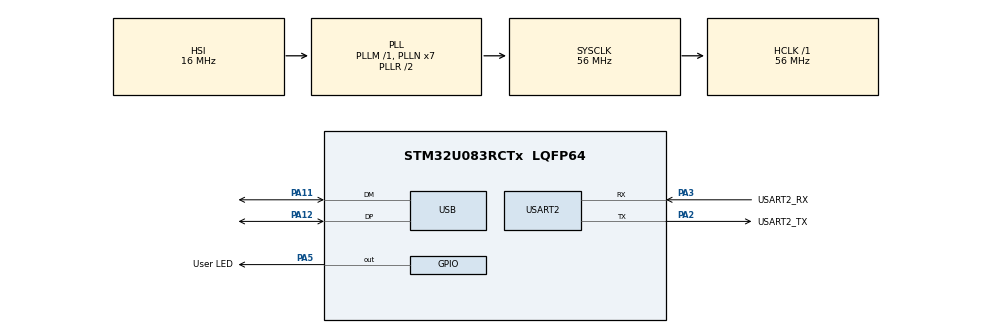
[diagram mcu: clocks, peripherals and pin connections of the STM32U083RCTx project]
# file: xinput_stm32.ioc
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Mcu.Family=STM32U0
Mcu.Name=STM32U083RCTx
Mcu.Package=LQFP64
NUCLEO-U083RC.BUTTON=2
NVIC.PriorityGroup=NVIC_PRIORITYGROUP_2
NVIC.USB_DRD_FS_IRQn=true\:0\:0\:false\:false\:true\:true\:true\:true
PA11\ [PA9].Mode=Device
PA11\ [PA9].Signal=USB_DM
PA12\ [PA10].Mode=Device
PA12\ [PA10].Signal=USB_DP
PA13\ (SWDIO).GPIO_Label=SWDIO
PA13\ (SWDIO).Signal=DEBUG_JTMS-SWDIO
PA14\ (SWCLK).GPIO_Label=SWCLK
PA14\ (SWCLK).Signal=DEBUG_JTCK-SWCLK
PA2.GPIO_Label=USART2_TX
PA2.Mode=Asynchronous
PA2.Signal=USART2_TX
PA3.GPIO_Label=USART2_RX
PA3.Mode=Asynchronous
PA3.Signal=USART2_RX
PA5.GPIO_Label=User LED
PA5.Signal=GPIO_Output
ProjectManager.HeapSize=0x200
ProjectManager.StackSize=0x400
ProjectManager.TargetToolchain=CMake
RCC.ADCFreq_Value=56000000
RCC.AHBFreq_Value=56000000
RCC.CortexFreq_Value=56000000
RCC.HCLKFreq_Value=56000000
RCC.HSE_VALUE=4000000
RCC.HSI48_VALUE=48000000
RCC.HSI_VALUE=16000000
RCC.LSE_VALUE=32768
RCC.MSIClockRangeVal=RCC_MSIRANGE_11
RCC.MSI_VALUE=48000000
RCC.PLLN=7
RCC.SYSCLKFreq_VALUE=56000000
RCC.SYSCLKSource=RCC_SYSCLKSOURCE_PLLCLK
RCC.USBFreq_Value=48000000
RCC.VCOOutputFreq_Value=112000000
USART2.VirtualMode-Asynchronous=VM_ASYNC
USB.VirtualMode=Device_Only
VP_NUCLEO-U083RC_VS_BSP_COMMON.Mode=COMMON
VP_PWR_VS_SECSignals.Mode=Security/Privilege
board=NUCLEO-U083RC

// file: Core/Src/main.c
/* USER CODE BEGIN Header */
/**
  ******************************************************************************
  * @file           : main.c
  * @brief          : Main program body
  ******************************************************************************
  * @attention
  *
  * Copyright (c) 2025 STMicroelectronics.
  * All rights reserved.
  *
  * This software is licensed under terms that can be found in the LICENSE file
  * in the root directory of this software component.
  * If no LICENSE file comes with this software, it is provided AS-IS.
  *
  ******************************************************************************
  */
/* USER CODE END Header */
#include "main.h"

/* USER CODE BEGIN Includes */
#include "tusb.h"
#include "xinput_driver.h"
/* USER CODE END Includes */

UART_HandleTypeDef huart2;

PCD_HandleTypeDef hpcd_USB_DRD_FS;

void SystemClock_Config(void);
static void MX_GPIO_Init(void);
static void MX_USART2_UART_Init(void);
static void MX_USB_PCD_Init(void);

/* USER CODE BEGIN 0 */
uint8_t endpoint_in = 0;
uint8_t endpoint_out = 0;
uint8_t xinput_out_buffer[XINPUT_OUT_SIZE] = {};

static XInputReport xinputReport = {
        .report_id = 0,
        .report_size = XINPUT_ENDPOINT_SIZE,
        .buttons1 = 0,
        .buttons2 = 0,
        .lt = 0,
        .rt = 0,
        .lx = GAMEPAD_JOYSTICK_MID,
        .ly = GAMEPAD_JOYSTICK_MID,
        .rx = GAMEPAD_JOYSTICK_MID,
        .ry = GAMEPAD_JOYSTICK_MID,
        ._reserved = { },
};

static inline uint32_t board_millis(void) {
  return HAL_GetTick();
}

static void sendReportData(void) {

  // Poll every 1ms
  const uint32_t interval_ms = 1;
  static uint32_t start_ms = 0;

  if (board_millis() - start_ms < interval_ms) return;  // not enough time
  start_ms += interval_ms;

  xinputReport.buttons2 = (!BSP_PB_GetState(BUTTON_USER) ? XBOX_MASK_A : 0);

  send_report(&xinputReport, sizeof(xinputReport));
}
/* USER CODE END 0 */

int main(void)
{

  /* MCU Configuration--------------------------------------------------------*/

  /* Reset of all peripherals, Initializes the Flash interface and the Systick. */
  HAL_Init();

  /* Configure the system clock */
  SystemClock_Config();

  /* Initialize all configured peripherals */
  MX_GPIO_Init();
  MX_USART2_UART_Init();
  MX_USB_PCD_Init();
  /* USER CODE BEGIN 2 */
  tud_init(BOARD_TUD_RHPORT);
  /* USER CODE END 2 */

  /* Initialize leds */

  /* Initialize User push-button without interrupt mode. */
  BSP_PB_Init(BUTTON_USER, BUTTON_MODE_GPIO);

  /* Infinite loop */
  /* USER CODE BEGIN WHILE */
  while (1)
  {
      tud_task();  // tinyusb device task
      sendReportData();
    /* USER CODE END WHILE */

  }
}

void SystemClock_Config(void)
{
  RCC_OscInitTypeDef RCC_OscInitStruct = {0};
  RCC_ClkInitTypeDef RCC_ClkInitStruct = {0};

  /** Configure the main internal regulator output voltage
  */
  HAL_PWREx_ControlVoltageScaling(PWR_REGULATOR_VOLTAGE_SCALE1);

  /** Initializes the RCC Oscillators according to the specified parameters
  * in the RCC_OscInitTypeDef structure.
  */
  RCC_OscInitStruct.OscillatorType = RCC_OSCILLATORTYPE_HSI|RCC_OSCILLATORTYPE_MSI;
  RCC_OscInitStruct.HSIState = RCC_HSI_ON;
  RCC_OscInitStruct.HSICalibrationValue = RCC_HSICALIBRATION_DEFAULT;
  RCC_OscInitStruct.MSIState = RCC_MSI_ON;
  RCC_OscInitStruct.MSICalibrationValue = RCC_MSICALIBRATION_DEFAULT;
  RCC_OscInitStruct.MSIClockRange = RCC_MSIRANGE_11;
  RCC_OscInitStruct.PLL.PLLState = RCC_PLL_ON;
  RCC_OscInitStruct.PLL.PLLSource = RCC_PLLSOURCE_HSI;
  RCC_OscInitStruct.PLL.PLLM = RCC_PLLM_DIV1;
  RCC_OscInitStruct.PLL.PLLN = 7;
  RCC_OscInitStruct.PLL.PLLP = RCC_PLLP_DIV2;
  RCC_OscInitStruct.PLL.PLLQ = RCC_PLLQ_DIV2;
  RCC_OscInitStruct.PLL.PLLR = RCC_PLLR_DIV2;
  if (HAL_RCC_OscConfig(&RCC_OscInitStruct) != HAL_OK)
  {
    Error_Handler();
  }

  /** Initializes the CPU, AHB and APB buses clocks
  */
  RCC_ClkInitStruct.ClockType = RCC_CLOCKTYPE_HCLK|RCC_CLOCKTYPE_SYSCLK
                              |RCC_CLOCKTYPE_PCLK1;
  RCC_ClkInitStruct.SYSCLKSource = RCC_SYSCLKSOURCE_PLLCLK;
  RCC_ClkInitStruct.AHBCLKDivider = RCC_SYSCLK_DIV1;
  RCC_ClkInitStruct.APB1CLKDivider = RCC_HCLK_DIV1;

  if (HAL_RCC_ClockConfig(&RCC_ClkInitStruct, FLASH_LATENCY_2) != HAL_OK)
  {
    Error_Handler();
  }
}

static void MX_USART2_UART_Init(void)
{

  huart2.Instance = USART2;
  huart2.Init.BaudRate = 115200;
  huart2.Init.WordLength = UART_WORDLENGTH_8B;
  huart2.Init.StopBits = UART_STOPBITS_1;
  huart2.Init.Parity = UART_PARITY_NONE;
  huart2.Init.Mode = UART_MODE_TX_RX;
  huart2.Init.HwFlowCtl = UART_HWCONTROL_NONE;
  huart2.Init.OverSampling = UART_OVERSAMPLING_16;
  huart2.Init.OneBitSampling = UART_ONE_BIT_SAMPLE_DISABLE;
  huart2.Init.ClockPrescaler = UART_PRESCALER_DIV1;
  huart2.AdvancedInit.AdvFeatureInit = UART_ADVFEATURE_NO_INIT;
  if (HAL_UART_Init(&huart2) != HAL_OK)
  {
    Error_Handler();
  }
  if (HAL_UARTEx_SetTxFifoThreshold(&huart2, UART_TXFIFO_THRESHOLD_1_8) != HAL_OK)
  {
    Error_Handler();
  }
  if (HAL_UARTEx_SetRxFifoThreshold(&huart2, UART_RXFIFO_THRESHOLD_1_8) != HAL_OK)
  {
    Error_Handler();
  }
  if (HAL_UARTEx_DisableFifoMode(&huart2) != HAL_OK)
  {
    Error_Handler();
  }

}

static void MX_USB_PCD_Init(void)
{

  hpcd_USB_DRD_FS.Instance = USB_DRD_FS;
  hpcd_USB_DRD_FS.Init.dev_endpoints = 8;
  hpcd_USB_DRD_FS.Init.speed = USBD_FS_SPEED;
  hpcd_USB_DRD_FS.Init.phy_itface = PCD_PHY_EMBEDDED;
  hpcd_USB_DRD_FS.Init.Sof_enable = DISABLE;
  hpcd_USB_DRD_FS.Init.low_power_enable = DISABLE;
  hpcd_USB_DRD_FS.Init.lpm_enable = DISABLE;
  hpcd_USB_DRD_FS.Init.battery_charging_enable = DISABLE;
  if (HAL_PCD_Init(&hpcd_USB_DRD_FS) != HAL_OK)
  {
    Error_Handler();
  }

}

static void MX_GPIO_Init(void)
{
  GPIO_InitTypeDef GPIO_InitStruct = {0};

  /* GPIO Ports Clock Enable */
  __HAL_RCC_GPIOA_CLK_ENABLE();

  /*Configure GPIO pin Output Level */
  HAL_GPIO_WritePin(User_LED_GPIO_Port, User_LED_Pin, GPIO_PIN_RESET);

  /*Configure GPIO pin : User_LED_Pin */
  GPIO_InitStruct.Pin = User_LED_Pin;
  GPIO_InitStruct.Mode = GPIO_MODE_OUTPUT_PP;
  GPIO_InitStruct.Pull = GPIO_NOPULL;
  GPIO_InitStruct.Speed = GPIO_SPEED_FREQ_LOW;
  HAL_GPIO_Init(User_LED_GPIO_Port, &GPIO_InitStruct);

}

void Error_Handler(void)
{
  __disable_irq();
  while (1)
  {
  }
}
